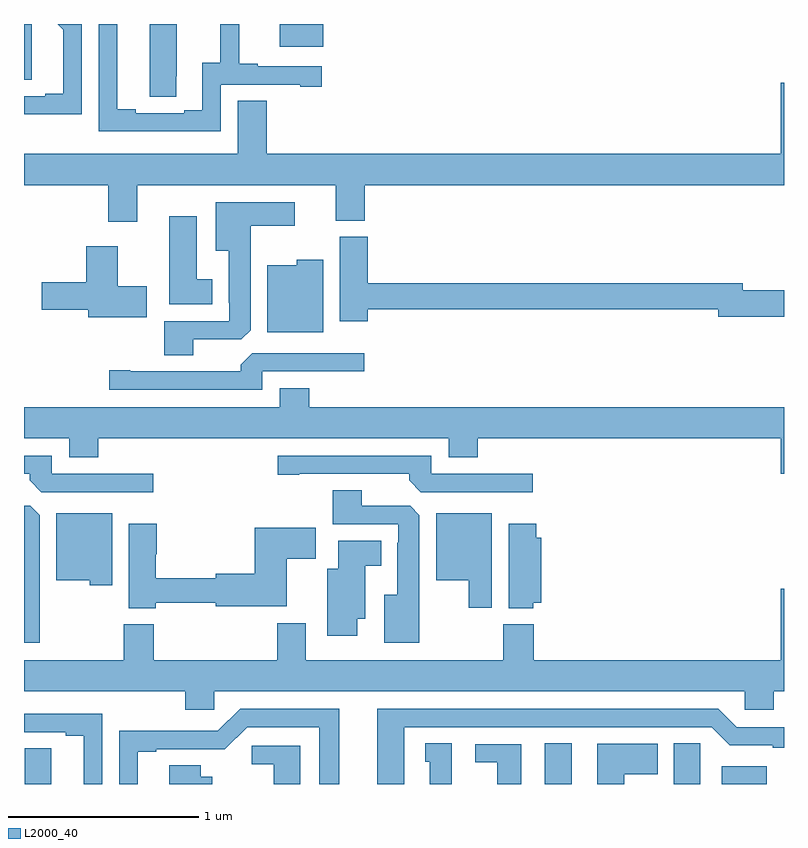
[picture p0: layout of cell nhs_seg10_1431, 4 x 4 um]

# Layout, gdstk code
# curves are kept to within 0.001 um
import gdstk
lib = gdstk.Library(unit=1e-6, precision=1e-09)
def R(c, l, rs):  # rectangles x0, y0, x1, y1
    for r in rs: c.add(gdstk.rectangle(r[:2], r[2:], *l))
def P(c, l, *ps):  # polygons
    for p in ps: c.add(gdstk.Polygon(p, *l))
L2000_40 = (2000, 40)

nhs_seg10_1431 = lib.new_cell('nhs_seg10_1431')
R(nhs_seg10_1431, L2000_40, [(187.742,1294.5,187.882,1294.715), (188.672,1294.5,188.908,1294.594), (185,1298.206,185.041,1298.5), (186.347,1298.381,186.574,1298.5)])
P(nhs_seg10_1431, L2000_40, [(186.036,1298.181),(186.455,1298.181),(186.455,1298.169),(186.568,1298.169),(186.568,1298.277),(186.229,1298.277),(186.229,1298.29),(186.134,1298.29),(186.134,1298.5),(186.034,1298.5),(186.034,1298.297),(185.939,1298.297),(185.939,1298.046),(185.843,1298.046),(185.843,1298.031),(185.587,1298.031),(185.587,1298.051),(185.491,1298.051),(185.491,1298.5),(185.394,1298.5),(185.394,1297.935),(186.036,1297.935)],
  [(185.802,1298.224),(185.803,1298.224),(185.803,1298.5),(185.663,1298.5),(185.663,1298.116),(185.802,1298.116)],
  [(185.304,1298.5),(185.177,1298.5),(185.207,1298.47),(185.207,1298.134),(185.111,1298.134),(185.111,1298.121),(185,1298.121),(185,1298.025),(185.041,1298.025),(185.041,1298.024),(185.304,1298.024)],
  [(186.278,1298.096),(186.125,1298.096),(186.125,1297.816),(185,1297.816),(185,1297.652),(185.444,1297.652),(185.444,1297.458),(185.596,1297.458),(185.596,1297.652),(186.641,1297.652),(186.641,1297.465),(186.794,1297.465),(186.794,1297.652),(189,1297.652),(189,1298.191),(188.984,1298.191),(188.984,1297.816),(186.278,1297.816)],
  [(185.89,1296.84),(186.144,1296.84),(186.193,1296.889),(186.193,1297.439),(186.424,1297.439),(186.424,1297.561),(186.008,1297.561),(186.008,1297.307),(186.077,1297.307),(186.077,1297.033),(186.081,1297.033),(186.081,1296.936),(185.738,1296.936),(185.738,1296.757),(185.89,1296.757)],
  [(185.992,1297.156),(185.908,1297.156),(185.908,1297.489),(185.765,1297.489),(185.765,1297.025),(185.992,1297.025)],
  [(186.809,1297),(188.654,1297),(188.654,1296.958),(189,1296.958),(189,1297.1),(188.782,1297.1),(188.782,1297.136),(186.809,1297.136),(186.809,1297.38),(186.662,1297.38),(186.662,1296.936),(186.809,1296.936)],
  [(185.647,1297.119),(185.494,1297.119),(185.494,1297.33),(185.327,1297.33),(185.327,1297.142),(185.094,1297.142),(185.094,1296.995),(185.339,1296.995),(185.339,1296.956),(185.647,1296.956)],
  [(186.574,1297.258),(186.435,1297.258),(186.435,1297.231),(186.281,1297.231),(186.281,1296.878),(186.574,1296.878)],
  [(186.255,1296.672),(186.79,1296.672),(186.79,1296.768),(186.201,1296.768),(186.14,1296.706),(186.14,1296.672),(185.56,1296.672),(185.56,1296.677),(185.448,1296.677),(185.448,1296.576),(186.255,1296.576)],
  [(189,1296.484),(186.5,1296.484),(186.5,1296.583),(186.347,1296.583),(186.347,1296.484),(185,1296.484),(185,1296.32),(185.237,1296.32),(185.237,1296.221),(185.39,1296.221),(185.39,1296.32),(187.235,1296.32),(187.235,1296.221),(187.388,1296.221),(187.388,1296.32),(188.984,1296.32),(188.984,1296.132),(189,1296.132)],
  [(185.68,1296.132),(185.145,1296.132),(185.145,1296.228),(185,1296.228),(185,1296.132),(185.03,1296.132),(185.03,1296.098),(185.091,1296.036),(185.68,1296.036)],
  [(187.678,1296.132),(187.143,1296.132),(187.143,1296.228),(186.336,1296.228),(186.336,1296.127),(186.448,1296.127),(186.448,1296.132),(187.028,1296.132),(187.028,1296.098),(187.089,1296.036),(187.678,1296.036)],
  [(187.081,1295.915),(187.032,1295.964),(186.778,1295.964),(186.778,1296.047),(186.626,1296.047),(186.626,1295.868),(186.969,1295.868),(186.969,1295.771),(186.965,1295.771),(186.965,1295.497),(186.896,1295.497),(186.896,1295.243),(187.081,1295.243)],
  [(185.083,1295.915),(185.034,1295.964),(185,1295.964),(185,1295.243),(185.083,1295.243)],
  [(187.462,1295.926),(187.169,1295.926),(187.169,1295.573),(187.34,1295.573),(187.34,1295.427),(187.462,1295.427)],
  [(185.464,1295.926),(185.171,1295.926),(185.171,1295.573),(185.346,1295.573),(185.346,1295.546),(185.464,1295.546)],
  [(187.68,1295.453),(187.723,1295.453),(187.723,1295.797),(187.697,1295.797),(187.697,1295.869),(187.55,1295.869),(187.55,1295.426),(187.68,1295.426)],
  [(185.694,1295.454),(186.008,1295.454),(186.008,1295.435),(186.382,1295.435),(186.382,1295.686),(186.535,1295.686),(186.535,1295.848),(186.215,1295.848),(186.215,1295.606),(186.008,1295.606),(186.008,1295.582),(185.694,1295.582),(185.694,1295.708),(185.699,1295.708),(185.699,1295.869),(185.552,1295.869),(185.552,1295.426),(185.694,1295.426)],
  [(186.754,1295.369),(186.796,1295.369),(186.796,1295.648),(186.88,1295.648),(186.88,1295.779),(186.653,1295.779),(186.653,1295.632),(186.596,1295.632),(186.596,1295.28),(186.754,1295.28)],
  [(186,1294.988),(188.793,1294.988),(188.793,1294.89),(188.945,1294.89),(188.945,1294.988),(189,1294.988),(189,1295.527),(188.984,1295.527),(188.984,1295.152),(187.682,1295.152),(187.682,1295.341),(187.522,1295.341),(187.522,1295.152),(186.484,1295.152),(186.484,1295.347),(186.332,1295.347),(186.332,1295.152),(185.684,1295.152),(185.684,1295.341),(185.524,1295.341),(185.524,1295.152),(185,1295.152),(185,1294.988),(185.849,1294.988),(185.849,1294.89),(186,1294.89)],
  [(185.599,1294.671),(185.695,1294.671),(185.695,1294.683),(186.056,1294.682),(186.174,1294.8),(186.554,1294.8),(186.554,1294.5),(186.658,1294.5),(186.658,1294.896),(186.138,1294.896),(186.021,1294.779),(185.765,1294.779),(185.765,1294.781),(185.502,1294.781),(185.502,1294.5),(185.599,1294.5)],
  [(187,1294.8),(188.619,1294.8),(188.715,1294.704),(188.942,1294.704),(188.942,1294.692),(189,1294.692),(189,1294.8),(188.751,1294.8),(188.655,1294.896),(186.86,1294.896),(186.86,1294.5),(187,1294.5)],
  [(185.412,1294.869),(185,1294.869),(185,1294.773),(185.219,1294.773),(185.219,1294.753),(185.315,1294.753),(185.315,1294.5),(185.412,1294.5)],
  [(187.252,1294.715),(187.112,1294.715),(187.112,1294.617),(187.136,1294.617),(187.136,1294.5),(187.252,1294.5)],
  [(188.56,1294.604),(188.559,1294.604),(188.559,1294.715),(188.42,1294.715),(188.42,1294.5),(188.56,1294.5)],
  [(188.158,1294.552),(188.335,1294.552),(188.335,1294.711),(188.018,1294.711),(188.018,1294.5),(188.158,1294.5)],
  [(187.618,1294.71),(187.374,1294.71),(187.374,1294.614),(187.49,1294.614),(187.49,1294.5),(187.618,1294.5)],
  [(186.454,1294.701),(186.198,1294.701),(186.198,1294.604),(186.314,1294.604),(186.314,1294.5),(186.454,1294.5)],
  [(185.143,1294.688),(185.004,1294.688),(185.004,1294.58),(185.003,1294.58),(185.003,1294.5),(185.143,1294.5)],
  [(185.992,1294.537),(185.929,1294.537),(185.929,1294.598),(185.765,1294.598),(185.765,1294.5),(185.992,1294.5)])

lib.write_gds('nhs_seg10_1431.gds')
